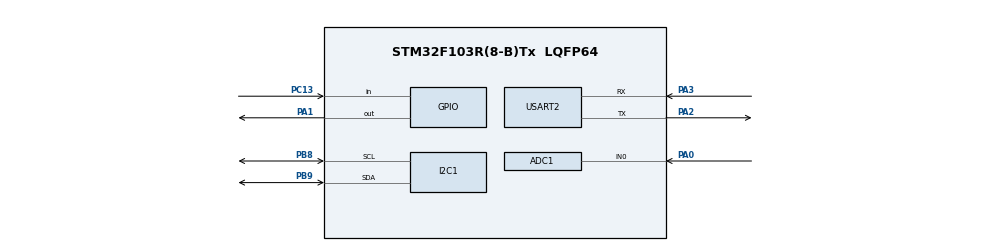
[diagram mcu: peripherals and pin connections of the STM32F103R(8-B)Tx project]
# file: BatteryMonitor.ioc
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ADC1.Channel-1\#ChannelRegularConversion=ADC_CHANNEL_0
ADC1.ContinuousConvMode=ENABLE
ADC1.NbrOfConversionFlag=1
ADC1.Rank-1\#ChannelRegularConversion=1
ADC1.SamplingTime-1\#ChannelRegularConversion=ADC_SAMPLETIME_1CYCLE_5
ADC1.master=1
Mcu.Family=STM32F1
Mcu.Name=STM32F103R(8-B)Tx
Mcu.Package=LQFP64
NVIC.PriorityGroup=NVIC_PRIORITYGROUP_4
PA0-WKUP.Signal=ADCx_IN0
PA1.Signal=GPIO_Output
PA13.Mode=Serial_Wire
PA13.Signal=SYS_JTMS-SWDIO
PA14.Mode=Serial_Wire
PA14.Signal=SYS_JTCK-SWCLK
PA2.Mode=Asynchronous
PA2.Signal=USART2_TX
PA3.Mode=Asynchronous
PA3.Signal=USART2_RX
PB8.Mode=I2C
PB8.Signal=I2C1_SCL
PB9.Mode=I2C
PB9.Signal=I2C1_SDA
PC13-TAMPER-RTC.GPIO_PuPd=GPIO_PULLUP
PC13-TAMPER-RTC.Signal=GPIO_Input
ProjectManager.HeapSize=0x200
ProjectManager.StackSize=0x400
ProjectManager.TargetToolchain=STM32CubeIDE
RCC.APB1Freq_Value=8000000
RCC.APB2Freq_Value=8000000
SH.ADCx_IN0.0=ADC1_IN0,IN0
USART2.VirtualMode=VM_ASYNC
board=custom

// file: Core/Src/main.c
/* USER CODE BEGIN Header */
/**
  ******************************************************************************
  * @file           : main.c
  * @brief          : Main program body
  ******************************************************************************
  * @attention
  *
  * Copyright (c) 2026 STMicroelectronics.
  * All rights reserved.
  *
  * This software is licensed under terms that can be found in the LICENSE file
  * in the root directory of this software component.
  * If no LICENSE file comes with this software, it is provided AS-IS.
  *
  ******************************************************************************
  */
/* USER CODE END Header */
#include "main.h"

/* USER CODE BEGIN Includes */
#include "ssd1306.h"
#include "ssd1306_fonts.h"
#include "adc_voltage.h"
#include "ui.h"
#include "button.h"
#include <stdio.h>
#include <string.h>

/* USER CODE END Includes */

/* USER CODE BEGIN PD */
#define LOW_BATTERY_CV   350U   /* 3.50 V — adjust for your battery */
/* USER CODE END PD */

ADC_HandleTypeDef hadc1;

I2C_HandleTypeDef hi2c1;

UART_HandleTypeDef huart2;

/* USER CODE BEGIN PV */
uint8_t show_measurements = 0;
/* USER CODE END PV */

void SystemClock_Config(void);
static void MX_GPIO_Init(void);
static void MX_I2C1_Init(void);
static void MX_ADC1_Init(void);
static void MX_USART2_UART_Init(void);

int main(void)
{

  /* MCU Configuration--------------------------------------------------------*/

  /* Reset of all peripherals, Initializes the Flash interface and the Systick. */
  HAL_Init();

  /* Configure the system clock */
  SystemClock_Config();

  /* Initialize all configured peripherals */
  MX_GPIO_Init();
  MX_I2C1_Init();
  MX_ADC1_Init();
  MX_USART2_UART_Init();
  /* USER CODE BEGIN 2 */

  ssd1306_Init();
  UI_ShowIntro();

  /* USER CODE END 2 */

  /* Infinite loop */
  while (1)
  {

    /* USER CODE BEGIN 3 */
    Button_Update();

    if (Button_WasPressed()) {
      show_measurements = !show_measurements;
      if (show_measurements) {
        HAL_GPIO_WritePin(GPIOA, GPIO_PIN_1, GPIO_PIN_SET);
      } else {
        HAL_GPIO_WritePin(GPIOA, GPIO_PIN_1, GPIO_PIN_RESET);
        UI_ShowIntro();
      }
    }

    if (!show_measurements) {
      HAL_Delay(5);
      continue;
    }

    static uint32_t last_ms = 0;
    if ((HAL_GetTick() - last_ms) < 500) {
      HAL_Delay(5);
      continue;
    }
    last_ms = HAL_GetTick();

    uint32_t vin_cV = ADC_ReadVoltage_cV();

    if (vin_cV > 0 && vin_cV < LOW_BATTERY_CV) {
      UI_ShowLowBattery(vin_cV);
      HAL_GPIO_TogglePin(GPIOA, GPIO_PIN_1);  /* blink LED when low */
    } else {
      UI_ShowVoltage(vin_cV);
      HAL_GPIO_WritePin(GPIOA, GPIO_PIN_1, GPIO_PIN_SET);
    }

    /* UART log: "timestamp_ms,V.VV\r\n" */
    char log_buf[32];
    int log_len = snprintf(log_buf, sizeof(log_buf), "%lu,%lu.%02lu\r\n",
    HAL_GetTick(), vin_cV / 100, vin_cV % 100);
    HAL_UART_Transmit(&huart2, (uint8_t *)log_buf, (uint16_t)log_len, 100);

  }
  /* USER CODE END 3 */
}

void SystemClock_Config(void)
{
  RCC_OscInitTypeDef RCC_OscInitStruct = {0};
  RCC_ClkInitTypeDef RCC_ClkInitStruct = {0};
  RCC_PeriphCLKInitTypeDef PeriphClkInit = {0};

  /** Initializes the RCC Oscillators according to the specified parameters
  * in the RCC_OscInitTypeDef structure.
  */
  RCC_OscInitStruct.OscillatorType = RCC_OSCILLATORTYPE_HSI;
  RCC_OscInitStruct.HSIState = RCC_HSI_ON;
  RCC_OscInitStruct.HSICalibrationValue = RCC_HSICALIBRATION_DEFAULT;
  RCC_OscInitStruct.PLL.PLLState = RCC_PLL_NONE;
  if (HAL_RCC_OscConfig(&RCC_OscInitStruct) != HAL_OK)
  {
    Error_Handler();
  }

  /** Initializes the CPU, AHB and APB buses clocks
  */
  RCC_ClkInitStruct.ClockType = RCC_CLOCKTYPE_HCLK|RCC_CLOCKTYPE_SYSCLK
                              |RCC_CLOCKTYPE_PCLK1|RCC_CLOCKTYPE_PCLK2;
  RCC_ClkInitStruct.SYSCLKSource = RCC_SYSCLKSOURCE_HSI;
  RCC_ClkInitStruct.AHBCLKDivider = RCC_SYSCLK_DIV1;
  RCC_ClkInitStruct.APB1CLKDivider = RCC_HCLK_DIV1;
  RCC_ClkInitStruct.APB2CLKDivider = RCC_HCLK_DIV1;

  if (HAL_RCC_ClockConfig(&RCC_ClkInitStruct, FLASH_LATENCY_0) != HAL_OK)
  {
    Error_Handler();
  }
  PeriphClkInit.PeriphClockSelection = RCC_PERIPHCLK_ADC;
  PeriphClkInit.AdcClockSelection = RCC_ADCPCLK2_DIV2;
  if (HAL_RCCEx_PeriphCLKConfig(&PeriphClkInit) != HAL_OK)
  {
    Error_Handler();
  }
}

static void MX_ADC1_Init(void)
{

  ADC_ChannelConfTypeDef sConfig = {0};

  /** Common config
  */
  hadc1.Instance = ADC1;
  hadc1.Init.ScanConvMode = ADC_SCAN_DISABLE;
  hadc1.Init.ContinuousConvMode = ENABLE;
  hadc1.Init.DiscontinuousConvMode = DISABLE;
  hadc1.Init.ExternalTrigConv = ADC_SOFTWARE_START;
  hadc1.Init.DataAlign = ADC_DATAALIGN_RIGHT;
  hadc1.Init.NbrOfConversion = 1;
  if (HAL_ADC_Init(&hadc1) != HAL_OK)
  {
    Error_Handler();
  }

  /** Configure Regular Channel
  */
  sConfig.Channel = ADC_CHANNEL_0;
  sConfig.Rank = ADC_REGULAR_RANK_1;
  sConfig.SamplingTime = ADC_SAMPLETIME_1CYCLE_5;
  if (HAL_ADC_ConfigChannel(&hadc1, &sConfig) != HAL_OK)
  {
    Error_Handler();
  }

}

static void MX_I2C1_Init(void)
{

  hi2c1.Instance = I2C1;
  hi2c1.Init.ClockSpeed = 100000;
  hi2c1.Init.DutyCycle = I2C_DUTYCYCLE_2;
  hi2c1.Init.OwnAddress1 = 0;
  hi2c1.Init.AddressingMode = I2C_ADDRESSINGMODE_7BIT;
  hi2c1.Init.DualAddressMode = I2C_DUALADDRESS_DISABLE;
  hi2c1.Init.OwnAddress2 = 0;
  hi2c1.Init.GeneralCallMode = I2C_GENERALCALL_DISABLE;
  hi2c1.Init.NoStretchMode = I2C_NOSTRETCH_DISABLE;
  if (HAL_I2C_Init(&hi2c1) != HAL_OK)
  {
    Error_Handler();
  }

}

static void MX_USART2_UART_Init(void)
{

  huart2.Instance = USART2;
  huart2.Init.BaudRate = 115200;
  huart2.Init.WordLength = UART_WORDLENGTH_8B;
  huart2.Init.StopBits = UART_STOPBITS_1;
  huart2.Init.Parity = UART_PARITY_NONE;
  huart2.Init.Mode = UART_MODE_TX_RX;
  huart2.Init.HwFlowCtl = UART_HWCONTROL_NONE;
  huart2.Init.OverSampling = UART_OVERSAMPLING_16;
  if (HAL_UART_Init(&huart2) != HAL_OK)
  {
    Error_Handler();
  }

}

static void MX_GPIO_Init(void)
{
  GPIO_InitTypeDef GPIO_InitStruct = {0};

  /* GPIO Ports Clock Enable */
  __HAL_RCC_GPIOC_CLK_ENABLE();
  __HAL_RCC_GPIOA_CLK_ENABLE();
  __HAL_RCC_GPIOB_CLK_ENABLE();

  /*Configure GPIO pin Output Level */
  HAL_GPIO_WritePin(GPIOA, GPIO_PIN_1, GPIO_PIN_RESET);

  /*Configure GPIO pin : PC13 */
  GPIO_InitStruct.Pin = GPIO_PIN_13;
  GPIO_InitStruct.Mode = GPIO_MODE_INPUT;
  GPIO_InitStruct.Pull = GPIO_PULLUP;
  HAL_GPIO_Init(GPIOC, &GPIO_InitStruct);

  /*Configure GPIO pin : PA1 */
  GPIO_InitStruct.Pin = GPIO_PIN_1;
  GPIO_InitStruct.Mode = GPIO_MODE_OUTPUT_PP;
  GPIO_InitStruct.Pull = GPIO_NOPULL;
  GPIO_InitStruct.Speed = GPIO_SPEED_FREQ_LOW;
  HAL_GPIO_Init(GPIOA, &GPIO_InitStruct);

}

void Error_Handler(void)
{
  __disable_irq();
  while (1)
  {
  }
}
